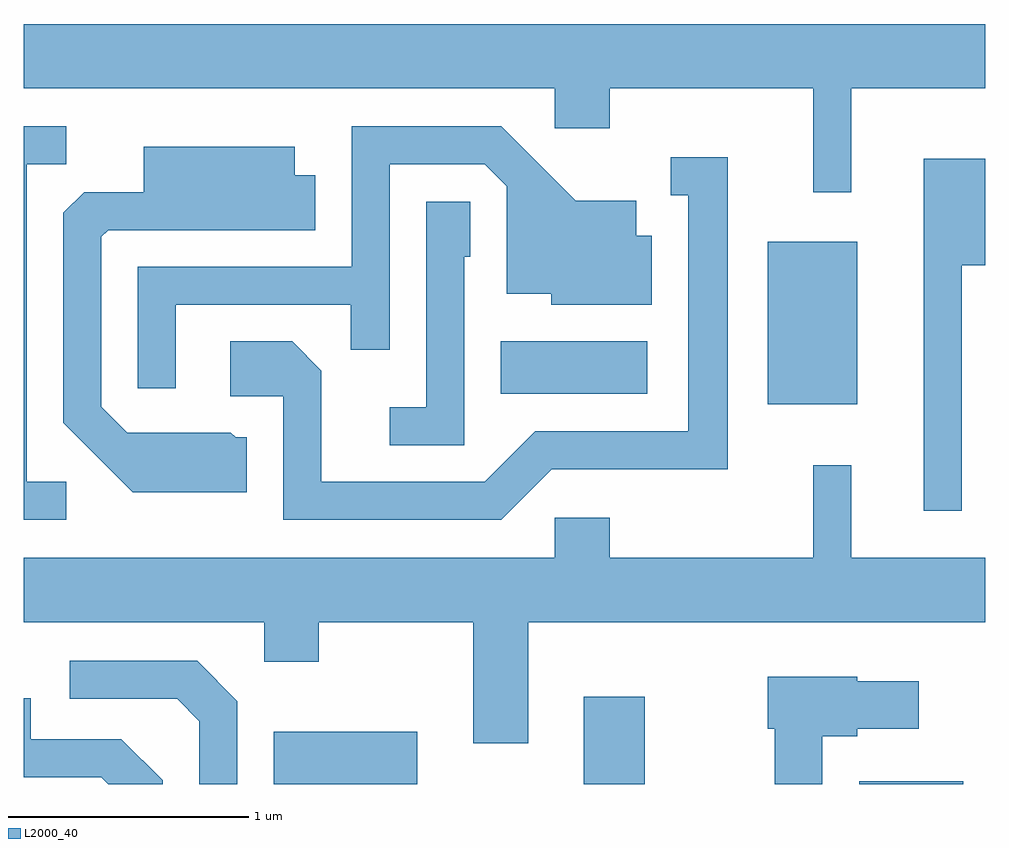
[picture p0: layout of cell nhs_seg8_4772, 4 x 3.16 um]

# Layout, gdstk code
import gdstk
lib = gdstk.Library(unit=1e-6, precision=1e-09)
def R(c, l, rs):  # rectangles x0, y0, x1, y1
    for r in rs: c.add(gdstk.rectangle(r[:2], r[2:], *l))
def P(c, l, *ps):  # polygons
    for p in ps: c.add(gdstk.Polygon(p, *l))
L2000_40 = (2000, 40)

nhs_seg8_4772 = lib.new_cell('nhs_seg8_4772')
R(nhs_seg8_4772, L2000_40, [(328.651,1902.342,329.249,1902.559), (329.941,1902.342,330.194,1902.704), (331.086,1902.342,331.519,1902.354), (330.706,1903.921,331.079,1904.599), (329.596,1903.966,330.204,1904.184)])
P(nhs_seg8_4772, L2000_40, [(331.054,1905.236),(331.611,1905.236),(331.611,1905.504),(327.611,1905.504),(327.611,1905.236),(329.821,1905.236),(329.821,1905.071),(330.049,1905.071),(330.049,1905.236),(330.896,1905.236),(330.896,1904.803),(331.054,1904.803)],
  [(327.788,1903.599),(327.624,1903.599),(327.624,1904.921),(327.788,1904.921),(327.788,1905.079),(327.611,1905.079),(327.611,1903.441),(327.788,1903.441)],
  [(328.244,1904.336),(328.971,1904.336),(328.971,1904.148),(329.134,1904.148),(329.134,1904.921),(329.529,1904.921),(329.621,1904.829),(329.621,1904.381),(329.806,1904.381),(329.806,1904.336),(330.224,1904.336),(330.224,1904.624),(330.159,1904.624),(330.159,1904.769),(329.907,1904.769),(329.597,1905.079),(328.976,1905.079),(328.976,1904.494),(328.086,1904.494),(328.086,1903.988),(328.244,1903.988)],
  [(328.539,1903.784),(328.492,1903.784),(328.472,1903.804),(328.042,1903.804),(327.934,1903.912),(327.934,1904.619),(327.962,1904.646),(328.824,1904.646),(328.824,1904.874),(328.739,1904.874),(328.739,1904.994),(328.111,1904.994),(328.111,1904.804),(327.862,1904.804),(327.776,1904.719),(327.776,1903.844),(328.064,1903.556),(328.539,1903.556)],
  [(329.807,1903.651),(330.539,1903.651),(330.539,1904.949),(330.303,1904.949),(330.303,1904.791),(330.376,1904.791),(330.376,1903.809),(329.739,1903.809),(329.529,1903.599),(328.849,1903.599),(328.849,1904.062),(328.727,1904.184),(328.471,1904.184),(328.471,1903.956),(328.691,1903.956),(328.691,1903.441),(329.597,1903.441)],
  [(331.514,1904.501),(331.611,1904.501),(331.611,1904.944),(331.356,1904.944),(331.356,1903.478),(331.514,1903.478)],
  [(329.444,1904.536),(329.469,1904.536),(329.469,1904.764),(329.286,1904.764),(329.286,1903.909),(329.133,1903.909),(329.133,1903.751),(329.444,1903.751)],
  [(329.709,1903.016),(331.611,1903.016),(331.611,1903.284),(331.054,1903.284),(331.054,1903.668),(330.896,1903.668),(330.896,1903.284),(330.049,1903.284),(330.049,1903.449),(329.821,1903.449),(329.821,1903.284),(327.611,1903.284),(327.611,1903.016),(328.611,1903.016),(328.611,1902.851),(328.839,1902.851),(328.839,1903.016),(329.481,1903.016),(329.481,1902.511),(329.709,1902.511)],
  [(328.499,1902.687),(328.332,1902.854),(327.803,1902.854),(327.803,1902.696),(328.249,1902.696),(328.341,1902.604),(328.341,1902.342),(328.499,1902.342)],
  [(330.934,1902.541),(331.079,1902.541),(331.079,1902.571),(331.334,1902.571),(331.334,1902.769),(331.079,1902.769),(331.079,1902.789),(330.706,1902.789),(330.706,1902.571),(330.736,1902.571),(330.736,1902.342),(330.934,1902.342)],
  [(328.189,1902.357),(328.017,1902.529),(327.639,1902.529),(327.639,1902.699),(327.611,1902.699),(327.611,1902.371),(327.934,1902.371),(327.963,1902.342),(328.189,1902.342)])

lib.write_gds('nhs_seg8_4772.gds')
